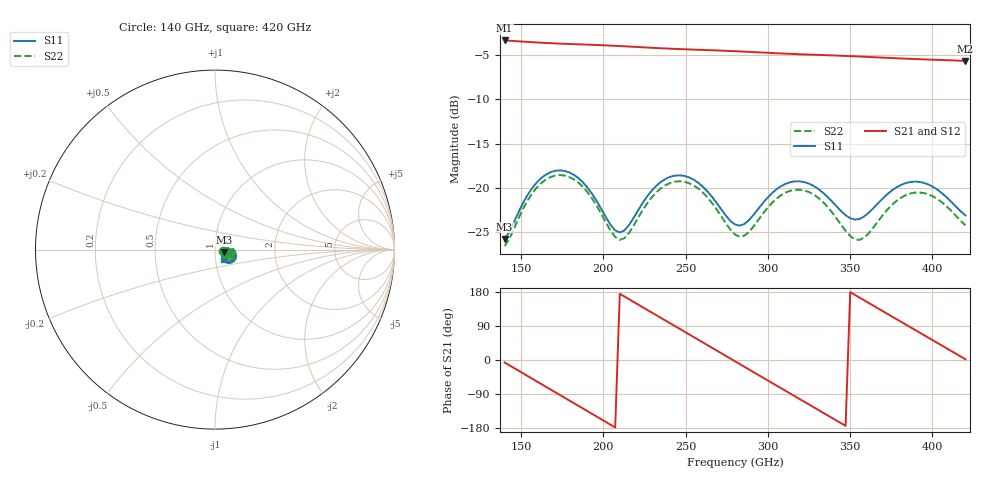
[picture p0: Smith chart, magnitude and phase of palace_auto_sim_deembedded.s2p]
! Created with skrf 1.11.0 (http://scikit-rf.org).
# GHz S DB R 50.0
!freq dBS11 angS11 dBS21 angS21 dBS12 angS12 dBS22 angS22
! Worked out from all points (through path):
!   101 points, 140 GHz to 420 GHz, reference 50 ohm
!   highest |S21| = -3.35 dB at 140 GHz (marker M1); lowest = -5.7 dB at 420 GHz (marker M2)
!   group delay of S21, straight-line fit = 7.06 ps
!   lowest |S11| = -25.8 dB at 140 GHz (marker M3), VSWR 1.11, Z = 55.1 - j1.71 ohm
!   |S11| at or under -10 dB: start of sweep to end of sweep
!   |S22| runs from -26.6 to -18.6 dB; largest |S21 - S12| = 7.4e-14
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140  -25.78 -17.5  -3.35 -6.5  -3.35 -6.5  -26.59 -12.8
151.2  -21.71 0.5  -3.48 -35.2  -3.48 -35.2  -22.37 7.3
165.2  -18.49 -12.6  -3.63 -70.9  -3.63 -70.9  -19.04 -5.2
176.4  -18.08 -28.7  -3.72 -99.4  -3.72 -99.4  -18.61 -21.2
187.6  -19.38 -43.2  -3.80 -127.9  -3.80 -127.9  -19.89 -35.6
198.8  -22.40 -48.1  -3.88 -156.6  -3.88 -156.6  -22.95 -40.8
210  -25.04 -27.3  -3.98 174.7  -3.98 174.7  -25.86 -19.7
221.2  -22.51 -7.0  -4.09 146.1  -4.09 146.1  -23.36 2.7
235.2  -19.30 -14.5  -4.23 110.6  -4.23 110.6  -20.01 -4.1
254.8  -19.06 -38.8  -4.38 60.9  -4.38 60.9  -19.72 -28.5
268.8  -21.69 -48.1  -4.48 25.2  -4.48 25.2  -22.43 -38.8
280  -24.14 -36.3  -4.56 -3.3  -4.56 -3.3  -25.27 -27.3
291.2  -23.06 -17.0  -4.66 -31.8  -4.66 -31.8  -24.37 -4.9
305.2  -20.16 -18.4  -4.79 -67.3  -4.79 -67.3  -21.22 -5.0
316.4  -19.26 -29.5  -4.88 -95.7  -4.88 -95.7  -20.22 -16.4
327.6  -19.76 -40.9  -4.96 -124.0  -4.96 -124.0  -20.73 -29.0
350  -23.43 -38.4  -5.12 179.1  -5.12 179.1  -25.44 -28.1
358.4  -23.24 -26.0  -5.19 157.7  -5.19 157.7  -25.64 -10.5
375.2  -20.31 -22.5  -5.34 115.2  -5.34 115.2  -21.95 -1.9
394.8  -19.44 -40.4  -5.49 65.7  -5.49 65.7  -20.59 -20.6
408.8  -21.10 -49.9  -5.58 30.3  -5.58 30.3  -22.12 -31.6
420  -23.10 -45.6  -5.66 2.0  -5.66 2.0  -24.24 -28.8
